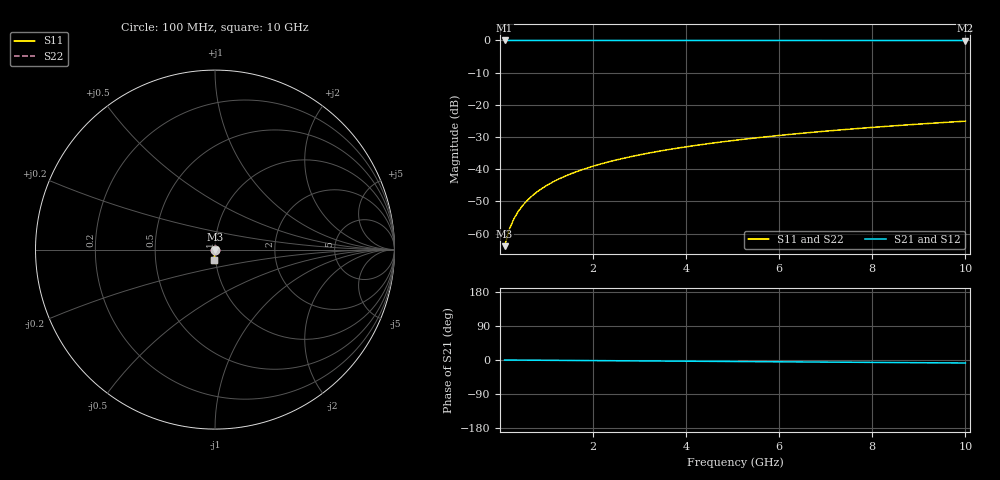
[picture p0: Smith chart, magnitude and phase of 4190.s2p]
# Hz S RI R 50.00
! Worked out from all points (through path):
!   100 points, 100 MHz to 10 GHz, reference 50 ohm
!   highest |S21| = 0.00 dB at 100 MHz (marker M1); lowest = 0.0 dB at 10 GHz (marker M2)
!   group delay of S21, straight-line fit = 2.19 ps
!   lowest |S11| = -63.9 dB at 100 MHz (marker M3), VSWR 1.00, Z = 50 - j0.0558 ohm
!   |S11| at or under -10 dB: start of sweep to end of sweep
!   |S22| runs from -63.9 to -25.1 dB; largest |S21 - S12| = 0
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1e8  0.000314 -0.000558  0.9997 -0.00137  0.9997 -0.00137  0.000314 -0.000558
2e8  0.000313 -0.00112  0.9997 -0.00275  0.9997 -0.00275  0.000313 -0.00112
3e8  0.00031 -0.00167  0.9997 -0.00412  0.9997 -0.00412  0.00031 -0.00167
4e8  0.000305 -0.00223  0.9997 -0.0055  0.9997 -0.0055  0.000305 -0.00223
5e8  0.000298 -0.00279  0.9996 -0.00687  0.9996 -0.00687  0.000298 -0.00279
6e8  0.00029 -0.00335  0.9996 -0.00824  0.9996 -0.00824  0.00029 -0.00335
7e8  0.00028 -0.0039  0.9996 -0.00962  0.9996 -0.00962  0.00028 -0.0039
8e8  0.000268 -0.00446  0.9996 -0.011  0.9996 -0.011  0.000268 -0.00446
9e8  0.000255 -0.00502  0.9996 -0.0124  0.9996 -0.0124  0.000255 -0.00502
1.1e9  0.000224 -0.00614  0.9995 -0.0151  0.9995 -0.0151  0.000224 -0.00614
1.4e9  0.000165 -0.00781  0.9994 -0.0192  0.9994 -0.0192  0.000165 -0.00781
1.8e9  6.58e-05 -0.01  0.9993 -0.0247  0.9993 -0.0247  6.58e-05 -0.01
2.1e9  -2.51e-05 -0.0117  0.9992 -0.0289  0.9992 -0.0289  -2.51e-05 -0.0117
2.5e9  -0.000168 -0.0139  0.999 -0.0344  0.999 -0.0344  -0.000168 -0.0139
2.9e9  -0.000336 -0.0162  0.9987 -0.0399  0.9987 -0.0399  -0.000336 -0.0162
3.4e9  -0.00058 -0.019  0.9984 -0.0467  0.9984 -0.0467  -0.00058 -0.019
4.2e9  -0.00105 -0.0234  0.9977 -0.0577  0.9977 -0.0577  -0.00105 -0.0234
5.1e9  -0.0017 -0.0284  0.9967 -0.0701  0.9967 -0.0701  -0.0017 -0.0284
5.9e9  -0.00238 -0.0328  0.9958 -0.0811  0.9958 -0.0811  -0.00238 -0.0328
6.7e9  -0.00316 -0.0373  0.9946 -0.092  0.9946 -0.092  -0.00316 -0.0373
8.4e9  -0.00514 -0.0466  0.9918 -0.1153  0.9918 -0.1153  -0.00514 -0.0466
1e10  -0.0074 -0.0553  0.9885 -0.1372  0.9885 -0.1372  -0.0074 -0.0553
